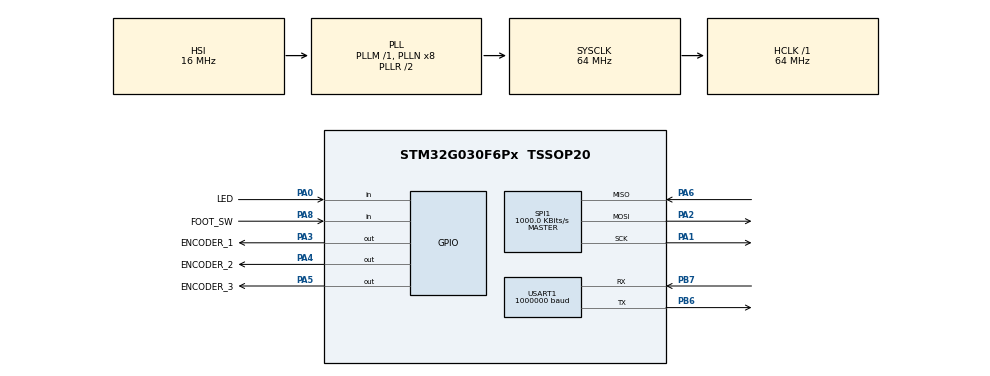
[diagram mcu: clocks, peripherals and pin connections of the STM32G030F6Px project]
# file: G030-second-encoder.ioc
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Mcu.Family=STM32G0
Mcu.Name=STM32G030F6Px
Mcu.Package=TSSOP20
NVIC.TIM3_IRQn=true\:0\:0\:false\:false\:true\:true\:true\:true
PA0.GPIO_Label=LED
PA0.Signal=GPIO_Input
PA1.Mode=Full_Duplex_Master
PA1.Signal=SPI1_SCK
PA13.Mode=Serial_Wire
PA13.Signal=SYS_SWDIO
PA14-BOOT0.Mode=Serial_Wire
PA14-BOOT0.Signal=SYS_SWCLK
PA14-BOOT0__PA15.StandardMode=true
PA2.Mode=Full_Duplex_Master
PA2.Signal=SPI1_MOSI
PA3.GPIO_Label=ENCODER_1
PA3.GPIO_Speed=GPIO_SPEED_FREQ_HIGH
PA3.PinState=GPIO_PIN_SET
PA3.Signal=GPIO_Output
PA4.GPIO_Label=ENCODER_2
PA4.GPIO_Speed=GPIO_SPEED_FREQ_HIGH
PA4.PinState=GPIO_PIN_SET
PA4.Signal=GPIO_Output
PA5.GPIO_Label=ENCODER_3
PA5.GPIO_Speed=GPIO_SPEED_FREQ_HIGH
PA5.PinState=GPIO_PIN_SET
PA5.Signal=GPIO_Output
PA6.Mode=Full_Duplex_Master
PA6.Signal=SPI1_MISO
PA8.GPIO_Label=FOOT_SW
PA8.GPIO_PuPd=GPIO_PULLUP
PA8.Signal=GPIO_Input
PB0__PB1__PB2__PA8.StandardMode=true
PB3__PB4__PB5__PB6.StandardMode=true
PB6.Mode=Asynchronous
PB6.Signal=USART1_TX
PB7.Mode=Asynchronous
PB7.Signal=USART1_RX
PB7__PB8.StandardMode=true
PC14-OSC32_IN\ (PC14)__PB9.StandardMode=true
ProjectManager.HeapSize=0x200
ProjectManager.StackSize=0x400
ProjectManager.TargetToolchain=STM32CubeIDE
RCC.ADCFreq_Value=64000000
RCC.AHBFreq_Value=64000000
RCC.CortexFreq_Value=64000000
RCC.EXTERNAL_CLOCK_VALUE=12288000
RCC.HCLKFreq_Value=64000000
RCC.HSE_VALUE=8000000
RCC.HSI_VALUE=16000000
RCC.LSE_VALUE=32768
RCC.SYSCLKFreq_VALUE=64000000
RCC.SYSCLKSource=RCC_SYSCLKSOURCE_PLLCLK
RCC.VCOOutputFreq_Value=128000000
SPI1.BaudRatePrescaler=SPI_BAUDRATEPRESCALER_64
SPI1.CLKPhase=SPI_PHASE_2EDGE
SPI1.CalculateBaudRate=1000.0 KBits/s
SPI1.DataSize=SPI_DATASIZE_16BIT
SPI1.Direction=SPI_DIRECTION_2LINES
SPI1.Mode=SPI_MODE_MASTER
SPI1.VirtualType=VM_MASTER
TIM3.Period=999
TIM3.Prescaler=63
USART1.BaudRate=1000000
USART1.Mode=MODE_TX
USART1.VirtualMode-Asynchronous=VM_ASYNC
VP_TIM3_VS_ClockSourceINT.Mode=Internal
board=custom

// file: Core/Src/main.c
/* USER CODE BEGIN Header */
/**
  ******************************************************************************
  * @file           : main.c
  * @brief          : 1 kHz three-AS5047P encoder / foot-switch UART node
  ******************************************************************************
  * Target: STM32G030F6Px, generated from Ben's current CubeMX pinout.
  *
  * Pin assignment:
  *   PA0  STATUS LED, active-low (board LED2)
  *   PA1  SPI1_SCK
  *   PA2  SPI1_MOSI / AS5047P DI
  *   PA3  AS5047P #1 CSn, active-low (knee)
  *   PA4  AS5047P #2 CSn, active-low (hip)
  *   PA5  AS5047P #3 CSn, active-low (ankle)
  *   PA6  SPI1_MISO / AS5047P DO
  *   PA8  FOOT_SW, active-low, internal pull-up
  *   PB3  USART1_TX, 1,000,000 baud, 8N1
  *   TIM3 update interrupt: 1 kHz
  *
  * The code transmits one fixed 19-byte CRC-protected packet every 1 ms.
  ******************************************************************************
  */
/* USER CODE END Header */

#include "main.h"

#include <stdbool.h>
#include <stdint.h>

SPI_HandleTypeDef hspi1;
TIM_HandleTypeDef htim3;
UART_HandleTypeDef huart1;

void SystemClock_Config(void);
static void MX_GPIO_Init(void);
static void MX_SPI1_Init(void);
static void MX_TIM3_Init(void);
static void MX_USART1_UART_Init(void);

/* USER CODE BEGIN 0 */

/* ---------- Board and protocol constants ---------- */
#define NODE_ID                         1U
#define CONTROL_HZ                      1000U
#define SPI_TIMEOUT_MS                  1U
#define UART_TIMEOUT_MS                 2U
#define ENCODER_COUNT                   3U
#define ENCODER_FAULT_STREAK_LIMIT      5U
#define UART_FAULT_STREAK_LIMIT         5U
#define FOOT_DEBOUNCE_SAMPLES           5U

/*
 * Physical SPI channels, confirmed by Ben's leg test from foot to hip:
 *   Encoder3 = ankle, Encoder1 = knee, Encoder2 = hip.
 *
 * The UART protocol is deliberately logical rather than SPI-channel order:
 *   angle[0] = hip, angle[1] = knee, angle[2] = ankle.
 * This matches H723 q[0..2] and Mini ODrive CAN node IDs 1, 2, 3.
 */
#define PHYSICAL_ENCODER_1               0U
#define PHYSICAL_ENCODER_2               1U
#define PHYSICAL_ENCODER_3               2U
#define UART_ANGLE_HIP_SOURCE            PHYSICAL_ENCODER_2
#define UART_ANGLE_KNEE_SOURCE           PHYSICAL_ENCODER_1
#define UART_ANGLE_ANKLE_SOURCE          PHYSICAL_ENCODER_3

/* AS5047P SPI: read ANGLECOM (address 0x3FFF, even parity included). */
#define AS5047P_READ_ANGLE_COMMAND      0xFFFFU
#define AS5047P_READ_ERRFL_COMMAND      0x4001U
#define AS5047P_NOP_COMMAND             0x0000U
#define AS5047P_ANGLE_MASK              0x3FFFU
#define AS5047P_ERROR_FLAG              0x4000U

/* Final UART frame: 2 SOF + 15 payload + 2 CRC = 19 bytes. */
#define FRAME_SOF0                      0xA5U
#define FRAME_SOF1                      0x5AU
#define FRAME_VERSION                   0x03U
#define FRAME_SIZE                      19U

/* flags byte in every UART packet */
#define FLAG_FOOT_PRESSED               (1U << 0)
#define FLAG_ENCODER_1_VALID            (1U << 1)
#define FLAG_ENCODER_2_VALID            (1U << 2)
#define FLAG_ENCODER_3_VALID            (1U << 3)
#define FLAG_NODE_FAULT                 (1U << 4)

typedef struct {
  uint16_t angle_raw;                           /* 0 ... 16383 */
  uint8_t fault_streak;
} EncoderState;

static EncoderState g_encoder[ENCODER_COUNT];
static volatile uint32_t g_tick_due = 0U;
static uint32_t g_time_ms = 0U;
static uint16_t g_sequence = 0U;
static uint8_t g_uart_fault_streak = 0U;
static bool g_foot_pressed = false;
static uint8_t g_foot_debounce_count = 0U;

static GPIO_TypeDef * const g_cs_ports[ENCODER_COUNT] = {
  GPIOA, GPIOA, GPIOA
};

static const uint16_t g_cs_pins[ENCODER_COUNT] = {
  GPIO_PIN_3, GPIO_PIN_4, GPIO_PIN_5
};

static void LED_Set(bool on)
{
  /* Board LED2 is connected from 3V3 to PA0, hence PA0 low = LED on. */
  HAL_GPIO_WritePin(GPIOA, GPIO_PIN_0, on ? GPIO_PIN_RESET : GPIO_PIN_SET);
}

static bool AS5047P_HasEvenParity(uint16_t word)
{
  uint8_t parity = 0U;
  uint8_t bit;

  for (bit = 0U; bit < 16U; ++bit) {
    parity ^= (uint8_t)((word >> bit) & 0x1U);
  }
  return (parity == 0U);
}

static void AS5047P_Delay350ns(void)
{
  volatile uint32_t i;

  /* AS5047P datasheet: tCSn high between transmissions and tL (CSn falling
   * edge to first CLK rising edge) are both >= 350 ns.
   * At 64 MHz, 32 NOPs are >= 500 ns, excluding loop overhead. */
  for (i = 0U; i < 32U; ++i) {
    __NOP();
  }
}

static bool AS5047P_ReadRegister(uint8_t index, uint16_t command,
                                 uint16_t *response)
{
  uint16_t tx_word;
  uint16_t rx_word;
  HAL_StatusTypeDef status;

  /* The AS5047P latches one command at CSn rising.  Thus command and NOP
   * must be two separate 16-bit frames with a CSn-high interval between. */
  HAL_GPIO_WritePin(g_cs_ports[index], g_cs_pins[index], GPIO_PIN_RESET);
  AS5047P_Delay350ns();

  tx_word = command;
  rx_word = 0U;
  status = HAL_SPI_TransmitReceive(&hspi1, (uint8_t *)&tx_word,
                                   (uint8_t *)&rx_word, 1U, SPI_TIMEOUT_MS);
  HAL_GPIO_WritePin(g_cs_ports[index], g_cs_pins[index], GPIO_PIN_SET);

  if (status == HAL_OK) {
    AS5047P_Delay350ns();

    HAL_GPIO_WritePin(g_cs_ports[index], g_cs_pins[index], GPIO_PIN_RESET);
    AS5047P_Delay350ns();
    tx_word = AS5047P_NOP_COMMAND;
    rx_word = 0U;
    status = HAL_SPI_TransmitReceive(&hspi1, (uint8_t *)&tx_word,
                                     (uint8_t *)&rx_word, 1U, SPI_TIMEOUT_MS);
    HAL_GPIO_WritePin(g_cs_ports[index], g_cs_pins[index], GPIO_PIN_SET);
  }

  if (status != HAL_OK) {
    return false;
  }

  *response = rx_word;
  return true;
}

static void AS5047P_ClearErrorRegister(uint8_t index)
{
  uint16_t ignored_response;

  /* ERRFL = 0x0001. The AS5047P clears it automatically after a read. */
  (void)AS5047P_ReadRegister(index, AS5047P_READ_ERRFL_COMMAND,
                              &ignored_response);
}

static bool AS5047P_ReadAngle(uint8_t index, uint16_t *angle_raw)
{
  uint16_t rx_word;

  if (!AS5047P_ReadRegister(index, AS5047P_READ_ANGLE_COMMAND, &rx_word)) {
    return false;
  }

  if ((!AS5047P_HasEvenParity(rx_word)) || ((rx_word & AS5047P_ERROR_FLAG) != 0U)) {
    return false;
  }

  *angle_raw = (uint16_t)(rx_word & AS5047P_ANGLE_MASK);
  return true;
}

static void Encoder_StoreValidSample(EncoderState *encoder, uint16_t raw)
{
  encoder->angle_raw = raw;
  encoder->fault_streak = 0U;
}

static void Encoder_StoreInvalidSample(EncoderState *encoder)
{
  if (encoder->fault_streak < 255U) {
    encoder->fault_streak++;
  }

}

static uint16_t CRC16_CCITT(const uint8_t *data, uint16_t length)
{
  uint16_t crc = 0xFFFFU;
  uint16_t i;
  uint8_t bit;

  for (i = 0U; i < length; ++i) {
    crc ^= (uint16_t)data[i] << 8;
    for (bit = 0U; bit < 8U; ++bit) {
      if ((crc & 0x8000U) != 0U) {
        crc = (uint16_t)((crc << 1) ^ 0x1021U);
      } else {
        crc <<= 1;
      }
    }
  }
  return crc;
}

static void PutU16LE(uint8_t *dst, uint16_t value)
{
  dst[0] = (uint8_t)(value & 0xFFU);
  dst[1] = (uint8_t)(value >> 8);
}

static void PutU32LE(uint8_t *dst, uint32_t value)
{
  dst[0] = (uint8_t)(value & 0xFFU);
  dst[1] = (uint8_t)((value >> 8) & 0xFFU);
  dst[2] = (uint8_t)((value >> 16) & 0xFFU);
  dst[3] = (uint8_t)((value >> 24) & 0xFFU);
}

static bool UART_SendFrame(uint8_t valid_mask, bool foot_pressed, bool node_fault)
{
  uint8_t frame[FRAME_SIZE];
  uint8_t flags = 0U;
  uint8_t logical_valid_mask = 0U;
  uint16_t crc;
  HAL_StatusTypeDef status;

  if (foot_pressed) {
    flags |= FLAG_FOOT_PRESSED;
  }
  if ((valid_mask & (1U << UART_ANGLE_HIP_SOURCE)) != 0U) {
    logical_valid_mask |= (1U << 0);
  }
  if ((valid_mask & (1U << UART_ANGLE_KNEE_SOURCE)) != 0U) {
    logical_valid_mask |= (1U << 1);
  }
  if ((valid_mask & (1U << UART_ANGLE_ANKLE_SOURCE)) != 0U) {
    logical_valid_mask |= (1U << 2);
  }
  flags |= (uint8_t)(logical_valid_mask << 1);
  if (node_fault) {
    flags |= FLAG_NODE_FAULT;
  }

  frame[0] = FRAME_SOF0;
  frame[1] = FRAME_SOF1;
  frame[2] = FRAME_VERSION;
  frame[3] = NODE_ID;
  PutU16LE(&frame[4], g_sequence++);
  PutU32LE(&frame[6], g_time_ms);
  frame[10] = flags;
  PutU16LE(&frame[11], g_encoder[UART_ANGLE_HIP_SOURCE].angle_raw);
  PutU16LE(&frame[13], g_encoder[UART_ANGLE_KNEE_SOURCE].angle_raw);
  PutU16LE(&frame[15], g_encoder[UART_ANGLE_ANKLE_SOURCE].angle_raw);

  crc = CRC16_CCITT(&frame[2], 15U); /* version through angle_3 */
  PutU16LE(&frame[17], crc);

  status = HAL_UART_Transmit(&huart1, frame, FRAME_SIZE, UART_TIMEOUT_MS);
  return (status == HAL_OK);
}

static bool Node_HasFault(void)
{
  uint8_t i;

  if (g_uart_fault_streak >= UART_FAULT_STREAK_LIMIT) {
    return true;
  }

  for (i = 0U; i < ENCODER_COUNT; ++i) {
    if (g_encoder[i].fault_streak >= ENCODER_FAULT_STREAK_LIMIT) {
      return true;
    }
  }
  return false;
}

static bool Foot_Update1kHz(void)
{
  const bool raw_pressed =
      (HAL_GPIO_ReadPin(GPIOA, GPIO_PIN_8) == GPIO_PIN_RESET);

  if (raw_pressed == g_foot_pressed) {
    g_foot_debounce_count = 0U;
  } else {
    g_foot_debounce_count++;
    if (g_foot_debounce_count >= FOOT_DEBOUNCE_SAMPLES) {
      g_foot_pressed = raw_pressed;
      g_foot_debounce_count = 0U;
    }
  }

  return g_foot_pressed;
}

static void Node_UpdateLED(bool node_fault)
{
  if (!node_fault) {
    LED_Set(true);                        /* healthy: steady on */
  } else {
    LED_Set((g_time_ms % 200U) < 100U);  /* fault: 5 Hz blink */
  }
}

static void Node_Tick1kHz(void)
{
  uint8_t i;
  uint8_t valid_mask = 0U;
  uint16_t raw;
  bool foot_pressed;
  bool node_fault;
  bool uart_ok;

  g_time_ms++;

  for (i = 0U; i < ENCODER_COUNT; ++i) {
    if (AS5047P_ReadAngle(i, &raw)) {
      Encoder_StoreValidSample(&g_encoder[i], raw);
      valid_mask |= (uint8_t)(1U << i);
    } else {
      Encoder_StoreInvalidSample(&g_encoder[i]);
    }
  }

  /* PA8 is active-low and debounced for 5 consecutive 1 kHz samples. */
  foot_pressed = Foot_Update1kHz();

  node_fault = Node_HasFault();
  uart_ok = UART_SendFrame(valid_mask, foot_pressed, node_fault);
  if (uart_ok) {
    g_uart_fault_streak = 0U;
  } else if (g_uart_fault_streak < 255U) {
    g_uart_fault_streak++;
  }

  /* Include a just-detected UART failure in the LED health decision. */
  Node_UpdateLED(Node_HasFault());
}

void HAL_TIM_PeriodElapsedCallback(TIM_HandleTypeDef *htim)
{
  if (htim->Instance == TIM3) {
    /* The interrupt never talks to SPI or UART; it only schedules one task. */
    if (g_tick_due < 0xFFFFFFFFU) {
      g_tick_due++;
    }
  }
}

/* USER CODE END 0 */

int main(void)
{
  uint8_t i;

  HAL_Init();
  SystemClock_Config();

  MX_GPIO_Init();
  MX_SPI1_Init();
  MX_TIM3_Init();
  MX_USART1_UART_Init();

  /* USER CODE BEGIN 2 */
  LED_Set(true);
  /* Sensor requires up to 10 ms after power-up before its first valid angle.
   * Also clear any sticky ERRFL bits left by a previous firmware revision. */
  HAL_Delay(15U);
  g_foot_pressed = (HAL_GPIO_ReadPin(GPIOA, GPIO_PIN_8) == GPIO_PIN_RESET);
  for (i = 0U; i < ENCODER_COUNT; ++i) {
    AS5047P_ClearErrorRegister(i);
  }
  if (HAL_TIM_Base_Start_IT(&htim3) != HAL_OK) {
    Error_Handler();
  }
  /* USER CODE END 2 */

  while (1) {
    bool run_tick = false;

    __disable_irq();
    if (g_tick_due > 0U) {
      g_tick_due--;
      run_tick = true;
    }
    __enable_irq();

    if (run_tick) {
      Node_Tick1kHz();
    }
  }
}

void SystemClock_Config(void)
{
  RCC_OscInitTypeDef RCC_OscInitStruct = {0};
  RCC_ClkInitTypeDef RCC_ClkInitStruct = {0};

  HAL_PWREx_ControlVoltageScaling(PWR_REGULATOR_VOLTAGE_SCALE1);

  RCC_OscInitStruct.OscillatorType = RCC_OSCILLATORTYPE_HSI;
  RCC_OscInitStruct.HSIState = RCC_HSI_ON;
  RCC_OscInitStruct.HSIDiv = RCC_HSI_DIV1;
  RCC_OscInitStruct.HSICalibrationValue = RCC_HSICALIBRATION_DEFAULT;
  RCC_OscInitStruct.PLL.PLLState = RCC_PLL_ON;
  RCC_OscInitStruct.PLL.PLLSource = RCC_PLLSOURCE_HSI;
  RCC_OscInitStruct.PLL.PLLM = RCC_PLLM_DIV1;
  RCC_OscInitStruct.PLL.PLLN = 8;
  RCC_OscInitStruct.PLL.PLLP = RCC_PLLP_DIV2;
  RCC_OscInitStruct.PLL.PLLR = RCC_PLLR_DIV2;
  if (HAL_RCC_OscConfig(&RCC_OscInitStruct) != HAL_OK) {
    Error_Handler();
  }

  RCC_ClkInitStruct.ClockType = RCC_CLOCKTYPE_HCLK | RCC_CLOCKTYPE_SYSCLK
                              | RCC_CLOCKTYPE_PCLK1;
  RCC_ClkInitStruct.SYSCLKSource = RCC_SYSCLKSOURCE_PLLCLK;
  RCC_ClkInitStruct.AHBCLKDivider = RCC_SYSCLK_DIV1;
  RCC_ClkInitStruct.APB1CLKDivider = RCC_HCLK_DIV1;
  if (HAL_RCC_ClockConfig(&RCC_ClkInitStruct, FLASH_LATENCY_2) != HAL_OK) {
    Error_Handler();
  }
}

static void MX_SPI1_Init(void)
{
  hspi1.Instance = SPI1;
  hspi1.Init.Mode = SPI_MODE_MASTER;
  hspi1.Init.Direction = SPI_DIRECTION_2LINES;
  hspi1.Init.DataSize = SPI_DATASIZE_16BIT;
  hspi1.Init.CLKPolarity = SPI_POLARITY_LOW;
  hspi1.Init.CLKPhase = SPI_PHASE_2EDGE;
  hspi1.Init.NSS = SPI_NSS_SOFT;
  hspi1.Init.BaudRatePrescaler = SPI_BAUDRATEPRESCALER_64;
  hspi1.Init.FirstBit = SPI_FIRSTBIT_MSB;
  hspi1.Init.TIMode = SPI_TIMODE_DISABLE;
  hspi1.Init.CRCCalculation = SPI_CRCCALCULATION_DISABLE;
  hspi1.Init.CRCPolynomial = 7;
  hspi1.Init.CRCLength = SPI_CRC_LENGTH_DATASIZE;
  hspi1.Init.NSSPMode = SPI_NSS_PULSE_DISABLE;
  if (HAL_SPI_Init(&hspi1) != HAL_OK) {
    Error_Handler();
  }
}

static void MX_TIM3_Init(void)
{
  TIM_ClockConfigTypeDef sClockSourceConfig = {0};
  TIM_MasterConfigTypeDef sMasterConfig = {0};

  htim3.Instance = TIM3;
  htim3.Init.Prescaler = 63;
  htim3.Init.CounterMode = TIM_COUNTERMODE_UP;
  htim3.Init.Period = 999;
  htim3.Init.ClockDivision = TIM_CLOCKDIVISION_DIV1;
  htim3.Init.AutoReloadPreload = TIM_AUTORELOAD_PRELOAD_DISABLE;
  if (HAL_TIM_Base_Init(&htim3) != HAL_OK) {
    Error_Handler();
  }

  sClockSourceConfig.ClockSource = TIM_CLOCKSOURCE_INTERNAL;
  if (HAL_TIM_ConfigClockSource(&htim3, &sClockSourceConfig) != HAL_OK) {
    Error_Handler();
  }

  sMasterConfig.MasterOutputTrigger = TIM_TRGO_RESET;
  sMasterConfig.MasterSlaveMode = TIM_MASTERSLAVEMODE_DISABLE;
  if (HAL_TIMEx_MasterConfigSynchronization(&htim3, &sMasterConfig) != HAL_OK) {
    Error_Handler();
  }
}

static void MX_USART1_UART_Init(void)
{
  huart1.Instance = USART1;
  huart1.Init.BaudRate = 1000000;
  huart1.Init.WordLength = UART_WORDLENGTH_8B;
  huart1.Init.StopBits = UART_STOPBITS_1;
  huart1.Init.Parity = UART_PARITY_NONE;
  huart1.Init.Mode = UART_MODE_TX;
  huart1.Init.HwFlowCtl = UART_HWCONTROL_NONE;
  huart1.Init.OverSampling = UART_OVERSAMPLING_16;
  huart1.Init.OneBitSampling = UART_ONE_BIT_SAMPLE_DISABLE;
  huart1.Init.ClockPrescaler = UART_PRESCALER_DIV1;
  huart1.AdvancedInit.AdvFeatureInit = UART_ADVFEATURE_NO_INIT;
  if (HAL_UART_Init(&huart1) != HAL_OK) {
    Error_Handler();
  }
  if (HAL_UARTEx_SetTxFifoThreshold(&huart1, UART_TXFIFO_THRESHOLD_1_8) != HAL_OK) {
    Error_Handler();
  }
  if (HAL_UARTEx_SetRxFifoThreshold(&huart1, UART_RXFIFO_THRESHOLD_1_8) != HAL_OK) {
    Error_Handler();
  }
  if (HAL_UARTEx_DisableFifoMode(&huart1) != HAL_OK) {
    Error_Handler();
  }
}

static void MX_GPIO_Init(void)
{
  GPIO_InitTypeDef GPIO_InitStruct = {0};

  __HAL_RCC_GPIOA_CLK_ENABLE();
  __HAL_RCC_GPIOB_CLK_ENABLE();

  /* PA0 high means LED off; CSn high means all encoders deselected. */
  HAL_GPIO_WritePin(GPIOA, GPIO_PIN_0 | GPIO_PIN_3 | GPIO_PIN_4 | GPIO_PIN_5,
                    GPIO_PIN_SET);

  GPIO_InitStruct.Pin = GPIO_PIN_0 | GPIO_PIN_3 | GPIO_PIN_4 | GPIO_PIN_5;
  GPIO_InitStruct.Mode = GPIO_MODE_OUTPUT_PP;
  GPIO_InitStruct.Pull = GPIO_NOPULL;
  GPIO_InitStruct.Speed = GPIO_SPEED_FREQ_HIGH;
  HAL_GPIO_Init(GPIOA, &GPIO_InitStruct);

  GPIO_InitStruct.Pin = GPIO_PIN_8;
  GPIO_InitStruct.Mode = GPIO_MODE_INPUT;
  GPIO_InitStruct.Pull = GPIO_PULLUP;
  HAL_GPIO_Init(GPIOA, &GPIO_InitStruct);
}

void Error_Handler(void)
{
  GPIO_InitTypeDef GPIO_InitStruct = {0};

  __disable_irq();
  __HAL_RCC_GPIOA_CLK_ENABLE();
  GPIO_InitStruct.Pin = GPIO_PIN_0;
  GPIO_InitStruct.Mode = GPIO_MODE_OUTPUT_PP;
  GPIO_InitStruct.Pull = GPIO_NOPULL;
  GPIO_InitStruct.Speed = GPIO_SPEED_FREQ_LOW;
  HAL_GPIO_Init(GPIOA, &GPIO_InitStruct);

  /* A fatal initialization error is also visible as a fast active-low blink. */
  while (1) {
    volatile uint32_t delay;
    HAL_GPIO_WritePin(GPIOA, GPIO_PIN_0, GPIO_PIN_RESET);
    for (delay = 0U; delay < 150000U; ++delay) {
      __NOP();
    }
    HAL_GPIO_WritePin(GPIOA, GPIO_PIN_0, GPIO_PIN_SET);
    for (delay = 0U; delay < 150000U; ++delay) {
      __NOP();
    }
  }
}
